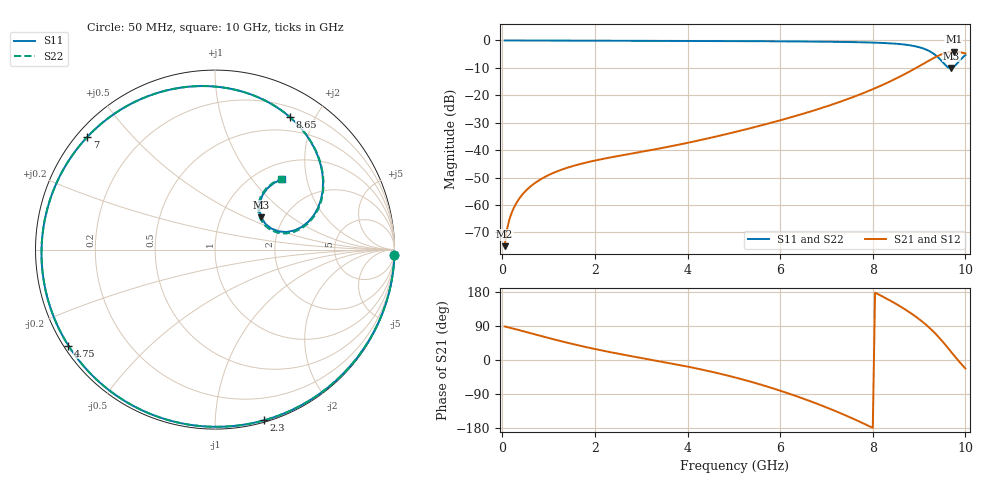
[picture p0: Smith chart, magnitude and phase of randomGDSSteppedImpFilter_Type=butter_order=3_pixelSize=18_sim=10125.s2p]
! freq	dB(S11)	phase(S11)	dB(S12)	phase(S12)
!  dB(S21)	phase(S21)	dB(S22)	phase(S22)
!S-par simulation data
#  GHz  S  DB  R 50
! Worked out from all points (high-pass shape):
!   200 points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, 50 MHz to 10 GHz, reference 50 ohm
!   highest |S21| = -4.10 dB at 9.75 GHz (marker M1); lowest = -75.0 dB at 50 MHz (marker M2)
!   |S21| within 3 dB of the highest: 9.24 GHz to end of sweep
!   lowest |S11| = -10.1 dB at 9.7 GHz (marker M3), VSWR 1.91, Z = 77.3 + j30.7 ohm
!   |S11| at or under -10 dB: 9.648 GHz to 9.707 GHz (59.27 MHz wide, 0.612 % of centre)
!   |S22| runs from -10.3 to 0.0 dB; largest |S21 - S12| = 0
!   S11 on the Smith chart (normalised r, x): 50 MHz: 0, -69; 2.3 GHz: 0.01, -1.33; 4.75 GHz: 0.01, -0.30; 7 GHz: 0.03, +0.38; 8.65 GHz: 0.32, +1.67; 10 GHz: 1.29, +1.43
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0.05  -0.00 -1.7  -75.02 88.5  -75.02 88.5  -0.00 -1.7
0.1  -0.00 -3.3  -68.99 87.0  -68.99 87.0  -0.00 -3.3
0.2  -0.00 -6.7  -62.96 84.0  -62.96 84.0  -0.00 -6.7
0.5  -0.01 -16.6  -54.95 74.5  -54.95 74.5  -0.01 -16.6
1  -0.04 -32.9  -49.08 58.0  -49.08 58.0  -0.04 -32.9
1.75  -0.07 -56.9  -44.77 35.7  -44.77 35.7  -0.07 -56.9
2.3  -0.09 -73.9  -42.78 21.4  -42.78 21.4  -0.09 -73.9
3.4  -0.13 -107.0  -39.38 -3.5  -39.38 -3.5  -0.13 -107.0
4.75  -0.21 -146.8  -34.51 -37.6  -34.51 -37.6  -0.21 -146.8
5.05  -0.23 -155.8  -33.29 -46.8  -33.29 -46.8  -0.23 -155.8
5.9  -0.30 177.5  -29.59 -77.0  -29.59 -77.0  -0.30 177.4
6.7  -0.40 149.8  -25.68 -111.0  -25.68 -111.0  -0.41 149.7
7  -0.46 138.5  -24.07 -125.2  -24.07 -125.2  -0.46 138.4
7.75  -0.66 107.0  -19.51 -164.6  -19.51 -164.6  -0.66 106.8
8.35  -1.03 77.4  -15.14 158.5  -15.14 158.5  -1.03 77.1
8.65  -1.43 60.5  -12.63 137.2  -12.63 137.2  -1.44 60.1
9.05  -2.70 35.3  -8.92 103.1  -8.92 103.1  -2.71 34.7
9.35  -5.29 16.7  -6.10 69.9  -6.10 69.9  -5.35 15.8
9.5  -7.73 13.8  -4.96 49.8  -4.96 49.8  -7.86 12.8
9.7  -10.06 34.8  -4.14 20.3  -4.14 20.3  -10.31 34.8
9.75  -9.60 41.8  -4.10 12.7  -4.10 12.7  -9.81 42.1
10  -5.34 46.4  -4.74 -22.3  -4.74 -22.3  -5.40 47.1
